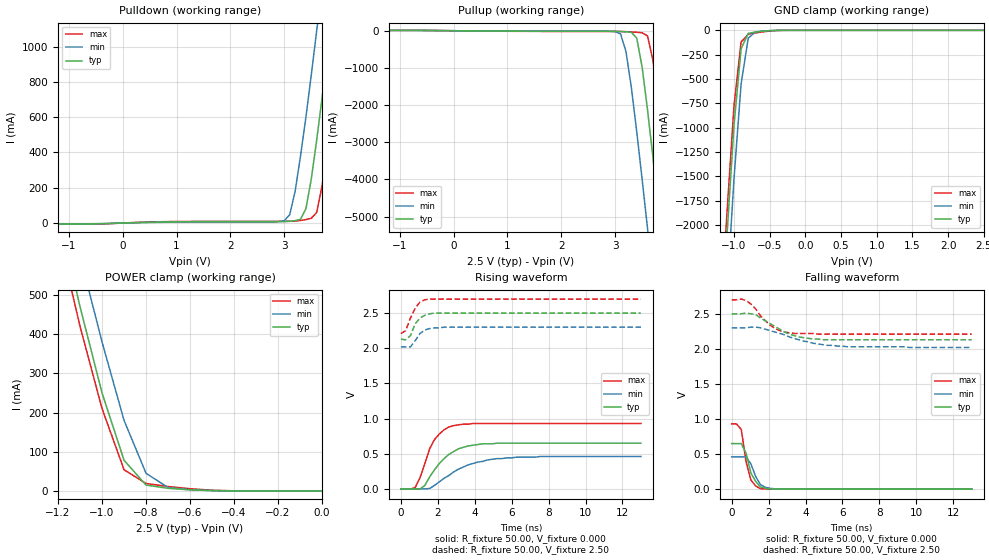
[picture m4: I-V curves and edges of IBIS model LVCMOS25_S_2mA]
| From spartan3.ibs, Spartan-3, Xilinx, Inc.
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|   Model LVCMOS25_S_2mA
[Model]   LVCMOS25_S_2mA
Model_type   I/O
Polarity   Non-Inverting
Enable   Active-Low
Vinl =   0.70V
Vinh =   1.70V
Vmeas =   1.25V
Cref =  0.000F
Rref =  1.00M
Vref =  0.000V
C_comp   6.38pF   4.60pF   8.23pF
[Temperature Range]   25.00   85.00   0.000
[Voltage Range]   2.50V   2.30V   2.70V
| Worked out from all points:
|   slope of the pulldown table from 0 to 0.375 V, typ, clamps not added: 106 ohm
|   slope of the pullup table from 0 to 0.375 V, typ, clamps not added: 74.8 ohm
|   GND clamp passes 1 mA (typ) near -0.41 V on its own axis
|   POWER clamp passes 1 mA (typ) near -0.52 V on its own axis
|   rising waveform, R_fixture 50.00, V_fixture 0.000: 20-80 % time 1.32ns typ, 1.96ns min, 889ps max; typ from 0 V to 0.65 V
|   rising waveform, R_fixture 50.00, V_fixture 2.50: 20-80 % time 470ps typ, 535ps min, 529ps max; typ from 2.13 V to 2.5 V
|   falling waveform, R_fixture 50.00, V_fixture 0.000: 20-80 % time 495ps typ, 479ps min, 404ps max; typ from 0.65 V to 0 V
|   falling waveform, R_fixture 50.00, V_fixture 2.50: 20-80 % time 1.55ns typ, 2.24ns min, 1.07ns max; typ from 2.5 V to 2.13 V
[Pulldown]
| voltage   I(typ)   I(min)   I(max)
-2.5V     -4.86mA    -3.92mA    -5.38mA
3V        8.12mA     13.75mA    9.92mA
3.1V      9.93mA     47.74mA    10.1mA
3.2V      13.54mA    180mA      11.22mA
3.4V      81.29mA    600mA      19.73mA
3.5V      250mA      840mA      27.13mA
3.6V      470mA      1.09A      60.07mA
3.7V      710mA      1.33A      210mA
3.8V      960mA      1.59A      430mA
4V        1.46A      2.1A       910mA
4.2V      1.98A      2.61A      1.41A
5V        4.06A      4.7A       3.49A
[Pullup]
| voltage   I(typ)   I(min)   I(max)
-2.5V     9.41mA     7.06mA     10.91mA
3.1V      -21.25mA   -87.57mA   -21.53mA
3.2V      -28.7mA    -560mA     -25.27mA
3.3V      -42.42mA   -1.53A     -32.66mA
3.4V      -200mA     -2.72A     -42.48mA
3.5V      -980mA     -4A        -55.03mA
3.6V      -2.13A     -5.32A     -140mA
3.7V      -3.4A      -6.67A     -790mA
3.8V      -4.73A     -8.03A     -1.91A
4V        -7.45A     -10.79A    -4.49A
4.2V      -10.23A    -13.59A    -7.23A
5V        -21.55A    -24.92A    -18.5A
[GND_clamp]
| voltage   I(typ)   I(min)   I(max)
-2.5V     -21.55A    -22.07A    -21.35A
-1.2V     -3.4A      -4A        -3.16A
-1.1V     -2.13A     -2.72A     -1.9A
-1V       -980mA     -1.53A     -780mA
-900mV    -190mA     -550mA     -120mA
-800mV    -31.52mA   -80.93mA   -39.99mA
-700mV    -17.33mA   -16.67mA   -26.93mA
-500mV    -3.49mA    -3.12mA    -7.64mA
-300mV    -45.54uA   -82.37uA   -200uA
2.5V      3.51nA     1.08uA     16.83nA
[POWER_clamp]
| voltage   I(typ)   I(min)   I(max)
-2.5V     4.06A      4.18A      4.02A
-1.2V     710mA      840mA      660mA
-1.1V     470mA      600mA      420mA
-1V       250mA      380mA      210mA
-900mV    78.2mA     180mA      54.13mA
-800mV    14.96mA    44.93mA    18.92mA
-700mV    6.69mA     8.78mA     11.2mA
-600mV    2.8mA      2.96mA     5.54mA
-400mV    81.59uA    140uA      290uA
0V        3.51nA     21.77nA    20.99nA
[Ramp]
| variable   typ   min   max
dV/dt_r   0.39/1.32n   0.28/1.93n   0.56/0.94n
dV/dt_f   0.22/1.57n   0.16/2.10n   0.29/1.11n
R_load = 50.00
[Rising Waveform]
R_fixture = 50.00
V_fixture = 0.000
| time   V(typ)   V(min)   V(max)
0s        0V         840nV      0V
780ps     -2.76mV    -3.2mV     20.92mV
1.3ns     48.57mV    -1.14mV    360mV
1.56ns    170mV      5.16mV     570mV
1.82ns    270mV      48.59mV    700mV
2.34ns    430mV      150mV      840mV
2.86ns    530mV      240mV      900mV
3.64ns    610mV      340mV      920mV
5.2ns     650mV      430mV      930mV
13ns      650mV      460mV      930mV
[Rising Waveform]
R_fixture = 50.00
V_fixture = 2.50
V_fixture_min = 2.30
V_fixture_max = 2.70
| time   V(typ)   V(min)   V(max)
0s        2.13V      2.02V      2.21V
260ps     2.12V      2.02V      2.25V
520ps     2.18V      2.02V      2.43V
780ps     2.35V      2.11V      2.57V
1.04ns    2.43V      2.21V      2.66V
1.3ns     2.47V      2.26V      2.69V
1.56ns    2.49V      2.28V      2.7V
1.82ns    2.5V       2.29V      2.7V
2.34ns    2.5V       2.3V       2.7V
13ns      2.5V       2.3V       2.7V
[Falling Waveform]
R_fixture = 50.00
V_fixture = 0.000
| time   V(typ)   V(min)   V(max)
0s        650mV      460mV      930mV
260ps     650mV      460mV      930mV
520ps     650mV      460mV      850mV
780ps     510mV      460mV      390mV
1.04ns    230mV      360mV      130mV
1.3ns     110mV      180mV      44.96mV
1.56ns    31.13mV    64.34mV    7.37mV
1.82ns    10.56mV    26.98mV    1.8mV
2.6ns     660uV      2.04mV     170uV
13ns      0V         530nV      0V
[Falling Waveform]
R_fixture = 50.00
V_fixture = 2.50
V_fixture_min = 2.30
V_fixture_max = 2.70
| time   V(typ)   V(min)   V(max)
0s        2.5V       2.3V       2.7V
520ps     2.5V       2.3V       2.71V
780ps     2.51V      2.3V       2.69V
1.3ns     2.49V      2.31V      2.57V
1.56ns    2.44V      2.3V       2.47V
2.34ns    2.32V      2.24V      2.29V
3.38ns    2.19V      2.15V      2.22V
4.42ns    2.14V      2.08V      2.22V
6.24ns    2.13V      2.03V      2.21V
13ns      2.13V      2.02V      2.21V
